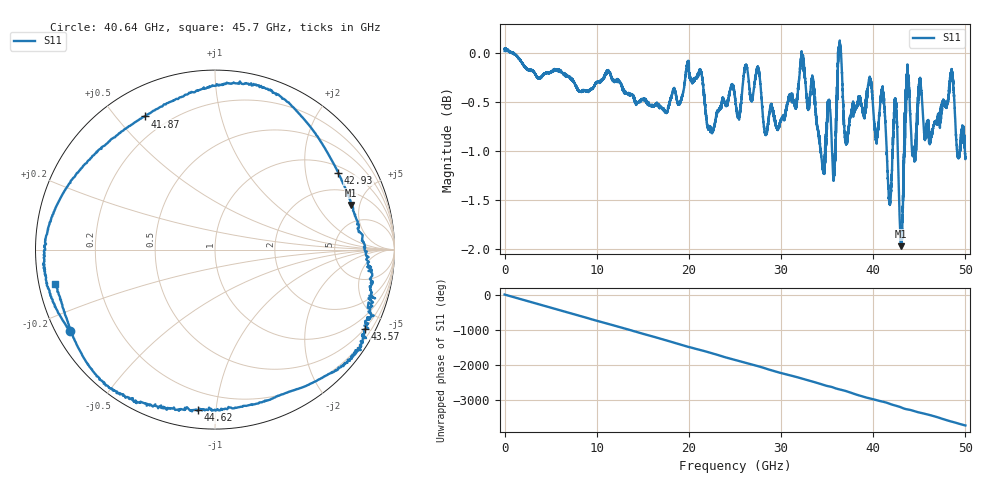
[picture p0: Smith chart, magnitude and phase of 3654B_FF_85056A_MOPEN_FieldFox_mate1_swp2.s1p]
!Created with skrf (http://scikit-rf.org).
# Hz S RI R 50.0
!freq ReS11 ImS11
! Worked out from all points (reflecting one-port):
!   10001 points, 300 kHz to 50 GHz, reference 50 ohm
!   lowest |S11| = -2.0 dB at 43.05 GHz (marker M1), VSWR 8.84, Z = 151 + j206 ohm
!   phase of S11 starts at 0 deg and turns -3733 deg over the sweep
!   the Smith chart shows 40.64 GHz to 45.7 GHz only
!   S11 on the Smith chart (normalised r, x): 40.64 GHz: 0.04, -0.26; 41.87 GHz: 0.12, +0.60; 42.93 GHz: 1.22, +3.03; 43.57 GHz: 0.49, -3.97; 44.62 GHz: 0.10, -0.89; 45.7 GHz: 0.05, -0.11
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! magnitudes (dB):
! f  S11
! 300 kHz  0.0
! 6.25 GHz  -0.2
! 12.5 GHz  -0.3
! 18.75 GHz  -0.5
! 25 GHz  -0.4
! 31.25 GHz  -0.5
! 32.32 GHz  -0.1
! 34.49 GHz  -1.2
! 35.19 GHz  -0.6
! 35.7 GHz  -1.3
! 36.38 GHz  0.1
! 36.99 GHz  -0.9
! 37.5 GHz  -0.7
! 39.61 GHz  -0.3
! 40.64 GHz  -0.6
! 41.09 GHz  -0.4
! 41.87 GHz  -1.5
! 42.42 GHz  -0.5
! 42.93 GHz  -1.8
! 43.05 GHz  -2.0
! 43.57 GHz  -0.5
! 43.75 GHz  -0.3
! 44.62 GHz  -0.9
! 45.07 GHz  -0.3
! 45.7 GHz  -0.8
! 48.48 GHz  -0.2
! 49.18 GHz  -1.1
! 50 GHz  -1.1
